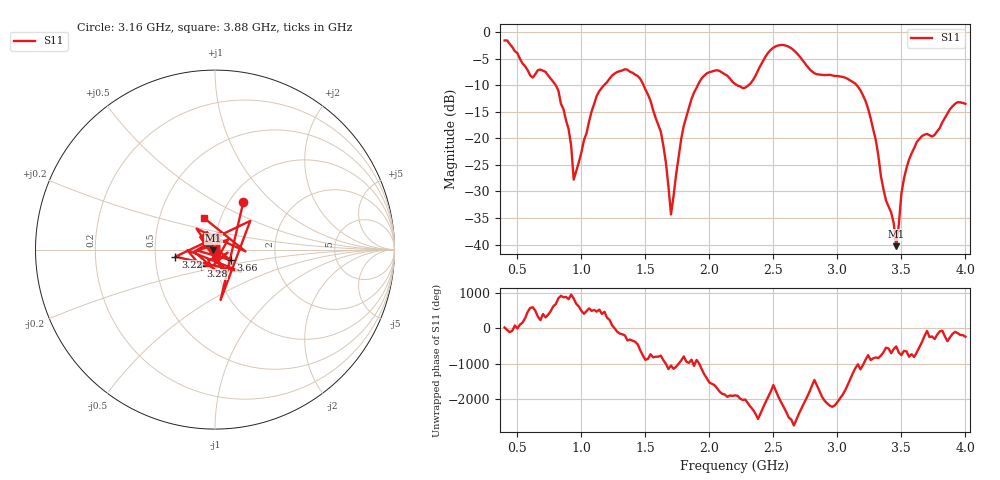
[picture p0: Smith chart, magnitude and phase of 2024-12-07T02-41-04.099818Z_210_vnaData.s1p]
!Created with skrf (http://scikit-rf.org).
# Hz S RI R 50.0
!freq ReS11 ImS11
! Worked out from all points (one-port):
!   181 points, 400 MHz to 4 GHz, reference 50 ohm
!   lowest |S11| = -40.3 dB at 3.46 GHz (marker M1), VSWR 1.02, Z = 49.2 - j0.446 ohm
!   |S11| at or under -10 dB: 798.9 MHz to 1.178 GHz (378.7 MHz wide, 38.3 % of centre); 1.485 GHz to 1.91 GHz (424.8 MHz wide, 25 % of centre); 3.15 GHz to end of sweep (the widest 3 of 4)
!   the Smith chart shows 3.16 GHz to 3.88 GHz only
!   S11 on the Smith chart (normalised r, x): 3.16 GHz: 1.16, +0.67; 3.22 GHz: 0.64, -0.05; 3.28 GHz: 0.84, -0.15; 3.66 GHz: 1.18, -0.14; 3.88 GHz: 0.83, +0.31
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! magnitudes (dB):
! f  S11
! 400 MHz  -1.6
! 620 MHz  -8.6
! 720 MHz  -7.5
! 860 MHz  -14.5
! 920 MHz  -21.4
! 940 MHz  -27.8
! 1.12 GHz  -12.0
! 1.3 GHz  -7.4
! 1.54 GHz  -12.9
! 1.64 GHz  -21.4
! 1.7 GHz  -34.3
! 1.76 GHz  -23.4
! 1.86 GHz  -12.6
! 1.94 GHz  -8.7
! 2.2 GHz  -9.8
! 2.32 GHz  -9.7
! 2.52 GHz  -2.7
! 2.66 GHz  -3.5
! 3.1 GHz  -9.1
! 3.16 GHz  -10.3
! 3.22 GHz  -13.0
! 3.28 GHz  -18.4
! 3.46 GHz  -40.3
! 3.5 GHz  -30.4
! 3.56 GHz  -24.0
! 3.66 GHz  -19.6
! 3.88 GHz  -14.5
! 4 GHz  -13.5
